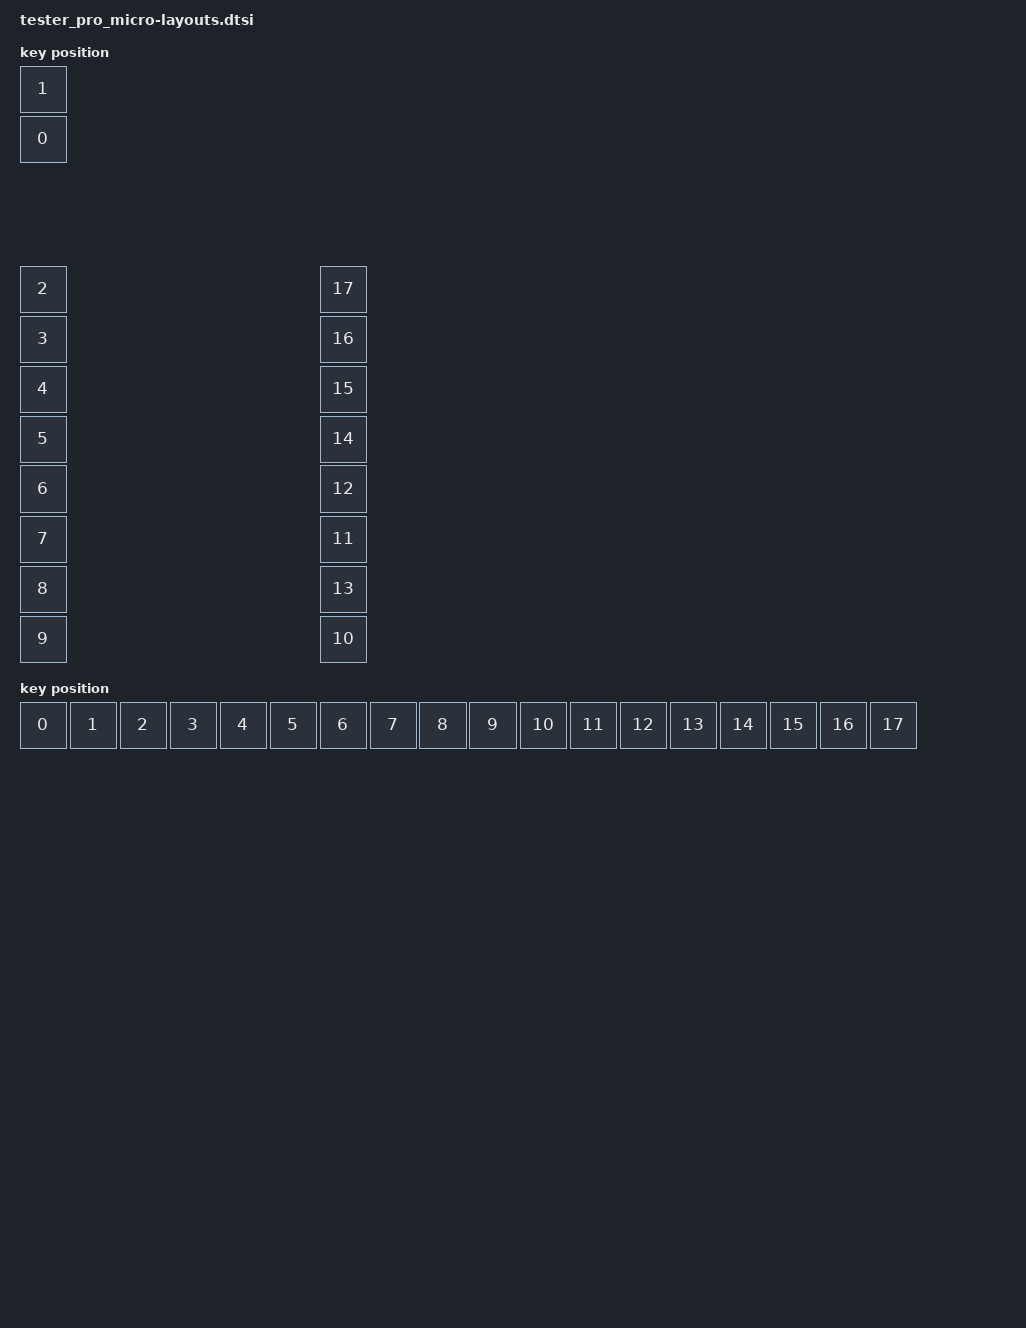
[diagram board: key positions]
/*
 * Copyright (c) 2025 The ZMK Contributors
 *
 * SPDX-License-Identifier: MIT
 */

#include <physical_layouts.dtsi>

/ {
    tester_position_map {
        compatible = "zmk,physical-layout-position-map";
        complete;

        pinout_map: pinout_positions {
            physical-layout = <&physical_layout0>;
            positions = <0 1 2 3 4 5 6 7 8 9 10 11 12 13 14 15 16 17>;
        };
        inline_map: single_row_positions {
            physical-layout = <&physical_layout1>;
            positions = <0 1 2 3 4 5 6 7 8 9 10 11 12 13 14 15 16 17>;
        };
    };

    physical_layout0: physical_layout_0 {
        compatible = "zmk,physical-layout";
        display-name = "Pro Micro Pinout";

        // Map key positions to the Pro Micro pinout. The coordinate
        // deltas jump around a little because some of the Pro Micro
        // pins are out of order: D0 is "after" D1 and D16 is "before"
        // D14.
        keys  //                     w   h    x    y    rot   rx   ry
            = <&key_physical_attrs 100 100    0  100      0    0    0> // D0
            , <&key_physical_attrs 100 100    0    0      0    0    0> // D1
            , <&key_physical_attrs 100 100    0  400      0    0    0> // D2
            , <&key_physical_attrs 100 100    0  500      0    0    0> // D3
            , <&key_physical_attrs 100 100    0  600      0    0    0> // D4
            , <&key_physical_attrs 100 100    0  700      0    0    0> // D5
            , <&key_physical_attrs 100 100    0  800      0    0    0> // D6
            , <&key_physical_attrs 100 100    0  900      0    0    0> // D7
            , <&key_physical_attrs 100 100    0 1000      0    0    0> // D8
            , <&key_physical_attrs 100 100    0 1100      0    0    0> // D9
            , <&key_physical_attrs 100 100  600 1100      0    0    0> // D10
            , <&key_physical_attrs 100 100  600  900      0    0    0> // D14
            , <&key_physical_attrs 100 100  600  800      0    0    0> // D15
            , <&key_physical_attrs 100 100  600 1000      0    0    0> // D16
            , <&key_physical_attrs 100 100  600  700      0    0    0> // D18
            , <&key_physical_attrs 100 100  600  600      0    0    0> // D19
            , <&key_physical_attrs 100 100  600  500      0    0    0> // D20
            , <&key_physical_attrs 100 100  600  400      0    0    0> // D21
            ;
    };

    physical_layout1: physical_layout_1 {
        compatible = "zmk,physical-layout";
        display-name = "Single Row";

        // Single row of eighteen "keys", in ascending "Arduino" order.
        keys  //                     w   h    x    y    rot   rx   ry
            = <&key_physical_attrs 100 100    0    0      0    0    0>
            , <&key_physical_attrs 100 100  100    0      0    0    0>
            , <&key_physical_attrs 100 100  200    0      0    0    0>
            , <&key_physical_attrs 100 100  300    0      0    0    0>
            , <&key_physical_attrs 100 100  400    0      0    0    0>
            , <&key_physical_attrs 100 100  500    0      0    0    0>
            , <&key_physical_attrs 100 100  600    0      0    0    0>
            , <&key_physical_attrs 100 100  700    0      0    0    0>
            , <&key_physical_attrs 100 100  800    0      0    0    0>
            , <&key_physical_attrs 100 100  900    0      0    0    0>
            , <&key_physical_attrs 100 100 1000    0      0    0    0>
            , <&key_physical_attrs 100 100 1100    0      0    0    0>
            , <&key_physical_attrs 100 100 1200    0      0    0    0>
            , <&key_physical_attrs 100 100 1300    0      0    0    0>
            , <&key_physical_attrs 100 100 1400    0      0    0    0>
            , <&key_physical_attrs 100 100 1500    0      0    0    0>
            , <&key_physical_attrs 100 100 1600    0      0    0    0>
            , <&key_physical_attrs 100 100 1700    0      0    0    0>
            ;
    };
};
